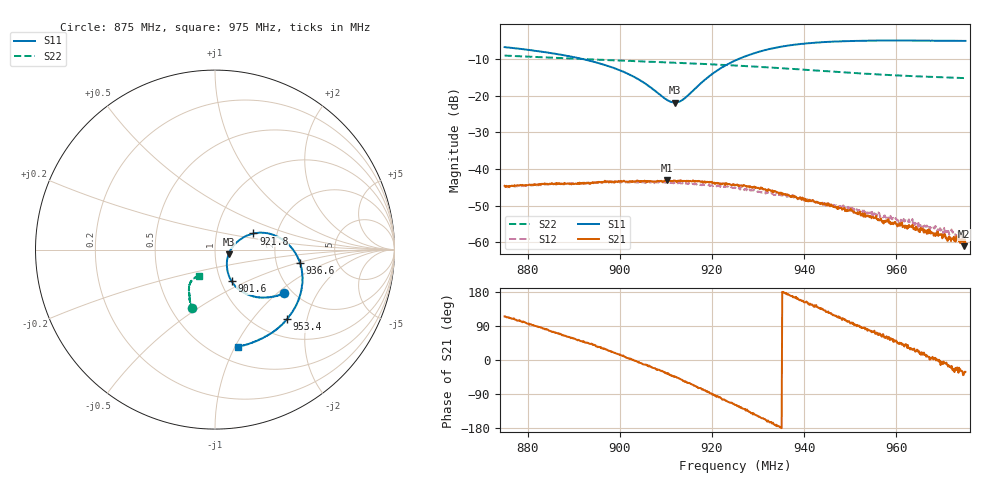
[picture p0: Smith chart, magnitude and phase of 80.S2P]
! C:\Users\rflab\Downloads\Lab5_KD_ZW\Q3\80.S2P
! Touchstone 1.1 file saved by VNA.EXE V1.65 (www.ke5fx.com/gpib/readme.htm)
! 11/18/2024 10:24:34 PM
!  Source: HEWLETT PACKARD,8753D,0,6.14
!  Min freq: 8.750000E+008 Hz
!  Max freq: 9.750200E+008 Hz
!  Points: 801
!  Params: S11 S21 S12 S22
# GHZ S MA R 50
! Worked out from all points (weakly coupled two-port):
!   801 points, 875 MHz to 975 MHz, reference 50 ohm
!   highest |S21| = -43.05 dB at 910.3 MHz (marker M1); lowest = -61.1 dB at 974.8 MHz (marker M2)
!   lowest |S11| = -21.9 dB at 912 MHz (marker M3), VSWR 1.17, Z = 58.1 - j3.09 ohm
!   |S11| at or under -10 dB: 891.8 MHz to 925.9 MHz (34.13 MHz wide, 3.76 % of centre)
!   |S22| runs from -15.3 to -9.1 dB; largest |S21 - S12| = 0.0014
!   S11 on the Smith chart (normalised r, x): 875 MHz: 1.82, -1.12; 901.6 MHz: 1.12, -0.41; 921.8 MHz: 1.51, +0.29; 936.6 MHz: 2.73, -0.54; 953.4 MHz: 1.36, -1.52; 975 MHz: 0.66, -1.03
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0.875  0.4564 -32.2  0.005886 115.1  0.005666 124.1  0.3501 -111.9
0.8917534  0.3163 -53.1  0.006433 49.5  0.006378 56.1  0.3147 -116.6
0.9016303  0.1996 -62.5  0.006652 4.9  0.00661 9.7  0.2965 -118.9
0.9083817  0.1066 -51.8  0.006776 -25.9  0.006516 -22.0  0.2855 -120.3
0.9102571  0.08705 -38.6  0.007035 -34.9  0.006509 -30.9  0.283 -120.7
0.9120074  0.08002 -19.3  0.006928 -44.0  0.006612 -41.8  0.2794 -121.1
0.9138828  0.08961 1.3  0.006811 -55.6  0.006148 -49.6  0.276 -121.6
0.9183837  0.162 22.9  0.006747 -80.2  0.006013 -73.6  0.2685 -122.6
0.9217593  0.2321 22.8  0.006211 -98.1  0.005714 -91.7  0.2627 -123.5
0.92501  0.2993 18.0  0.00606 -118.7  0.005622 -110.3  0.2564 -124.6
0.9305111  0.3998 5.5  0.005384 -151.8  0.004825 -142.2  0.2458 -125.5
0.9366373  0.4803 -9.1  0.00442 172.7  0.004436 -174.1  0.2318 -126.6
0.9417633  0.5212 -20.9  0.003762 146.4  0.003606 158.4  0.2211 -126.9
0.9533907  0.5569 -43.9  0.002267 83.4  0.002566 90.7  0.1982 -126.2
0.9583917  0.5619 -52.2  0.001844 61.1  0.002001 69.4  0.1904 -125.4
0.9618924  0.561 -57.8  0.001567 40.8  0.001974 45.8  0.1854 -124.5
0.9632677  0.5594 -60.0  0.001668 30.6  0.001858 42.1  0.1839 -124.2
0.965018  0.5589 -62.5  0.001461 22.8  0.00162 24.4  0.182 -123.9
0.9722694  0.5573 -72.9  0.001129 -27.2  0.001348 -12.5  0.1749 -122.1
0.9731446  0.5561 -74.0  0.001212 -25.6  0.001304 -26.2  0.1742 -121.8
0.9747699  0.5556 -76.3  0.000886 -35.2  0.001254 -28.9  0.1728 -121.3
0.97502  0.5549 -76.7  0.000973 -31.1  0.001177 -39.1  0.1722 -121.3
